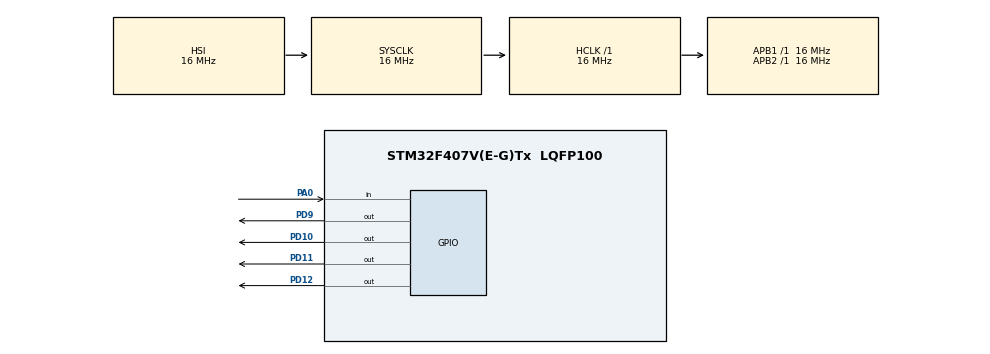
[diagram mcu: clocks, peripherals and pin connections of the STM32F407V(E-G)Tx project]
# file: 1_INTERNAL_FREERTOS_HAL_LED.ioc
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FREERTOS.Tasks01=Button,0,128,ButtonControlTask,Default,NULL,Dynamic,NULL,NULL;Led,0,128,LedFlashTask,Default,NULL,Dynamic,NULL,NULL
Mcu.Family=STM32F4
Mcu.Name=STM32F407V(E-G)Tx
Mcu.Package=LQFP100
NVIC.PriorityGroup=NVIC_PRIORITYGROUP_4
PA0-WKUP.Signal=GPIO_Input
PD10.Signal=GPIO_Output
PD11.Signal=GPIO_Output
PD12.Signal=GPIO_Output
PD9.Signal=GPIO_Output
ProjectManager.HeapSize=0x200
ProjectManager.StackSize=0x400
ProjectManager.TargetToolchain=STM32CubeIDE
RCC.AHBFreq_Value=16000000
RCC.APB1Freq_Value=16000000
RCC.APB2Freq_Value=16000000
RCC.CortexFreq_Value=16000000
RCC.HSE_VALUE=25000000
RCC.HSI_VALUE=16000000
RCC.LSE_VALUE=32768
RCC.SYSCLKFreq_VALUE=16000000
RCC.VCOOutputFreq_Value=192000000
VP_FREERTOS_VS_CMSIS_V1.Mode=CMSIS_V1
board=custom

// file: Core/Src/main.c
/* USER CODE BEGIN Header */
/**
  ******************************************************************************
  * @file           : main.c
  * @brief          : Main program body
  ******************************************************************************
  * @attention
  *
  * Copyright (c) 2022 STMicroelectronics.
  * All rights reserved.
  *
  * This software is licensed under terms that can be found in the LICENSE file
  * in the root directory of this software component.
  * If no LICENSE file comes with this software, it is provided AS-IS.
  *
  ******************************************************************************
  */
/* USER CODE END Header */
#include "main.h"
#include "cmsis_os.h"

int8_t ButtonCount=0;
osThreadId ButtonHandle;
osThreadId LedHandle;

void SystemClock_Config(void);
static void MX_GPIO_Init(void);
void ButtonControlTask(void const * argument);
void LedFlashTask(void const * argument);

int main(void)
{

  /* MCU Configuration--------------------------------------------------------*/

  /* Reset of all peripherals, Initializes the Flash interface and the Systick. */
  HAL_Init();

  /* Configure the system clock */
  SystemClock_Config();

  /* Initialize all configured peripherals */
  MX_GPIO_Init();

  /* Create the thread(s) */
  /* definition and creation of Button */
  osThreadDef(Button, ButtonControlTask, osPriorityNormal, 0, 128);
  ButtonHandle = osThreadCreate(osThread(Button), NULL);

  /* definition and creation of Led */
  osThreadDef(Led, LedFlashTask, osPriorityNormal, 0, 128);
  LedHandle = osThreadCreate(osThread(Led), NULL);

  /* Start scheduler */
  osKernelStart();

  /* We should never get here as control is now taken by the scheduler */
  /* Infinite loop */
  while (1)
  {

  }
}

void SystemClock_Config(void)
{
  RCC_OscInitTypeDef RCC_OscInitStruct = {0};
  RCC_ClkInitTypeDef RCC_ClkInitStruct = {0};

  /** Configure the main internal regulator output voltage
  */
  __HAL_RCC_PWR_CLK_ENABLE();
  __HAL_PWR_VOLTAGESCALING_CONFIG(PWR_REGULATOR_VOLTAGE_SCALE1);

  /** Initializes the RCC Oscillators according to the specified parameters
  * in the RCC_OscInitTypeDef structure.
  */
  RCC_OscInitStruct.OscillatorType = RCC_OSCILLATORTYPE_HSI;
  RCC_OscInitStruct.HSIState = RCC_HSI_ON;
  RCC_OscInitStruct.HSICalibrationValue = RCC_HSICALIBRATION_DEFAULT;
  RCC_OscInitStruct.PLL.PLLState = RCC_PLL_NONE;
  if (HAL_RCC_OscConfig(&RCC_OscInitStruct) != HAL_OK)
  {
    Error_Handler();
  }

  /** Initializes the CPU, AHB and APB buses clocks
  */
  RCC_ClkInitStruct.ClockType = RCC_CLOCKTYPE_HCLK|RCC_CLOCKTYPE_SYSCLK
                              |RCC_CLOCKTYPE_PCLK1|RCC_CLOCKTYPE_PCLK2;
  RCC_ClkInitStruct.SYSCLKSource = RCC_SYSCLKSOURCE_HSI;
  RCC_ClkInitStruct.AHBCLKDivider = RCC_SYSCLK_DIV1;
  RCC_ClkInitStruct.APB1CLKDivider = RCC_HCLK_DIV1;
  RCC_ClkInitStruct.APB2CLKDivider = RCC_HCLK_DIV1;

  if (HAL_RCC_ClockConfig(&RCC_ClkInitStruct, FLASH_LATENCY_0) != HAL_OK)
  {
    Error_Handler();
  }
}

static void MX_GPIO_Init(void)
{
  GPIO_InitTypeDef GPIO_InitStruct = {0};

  /* GPIO Ports Clock Enable */
  __HAL_RCC_GPIOA_CLK_ENABLE();
  __HAL_RCC_GPIOD_CLK_ENABLE();

  /*Configure GPIO pin Output Level */
  HAL_GPIO_WritePin(GPIOD, GPIO_PIN_9|GPIO_PIN_10|GPIO_PIN_11|GPIO_PIN_12, GPIO_PIN_RESET);

  /*Configure GPIO pin : PA0 */
  GPIO_InitStruct.Pin = GPIO_PIN_0;
  GPIO_InitStruct.Mode = GPIO_MODE_INPUT;
  GPIO_InitStruct.Pull = GPIO_NOPULL;
  HAL_GPIO_Init(GPIOA, &GPIO_InitStruct);

  /*Configure GPIO pins : PD9 PD10 PD11 PD12 */
  GPIO_InitStruct.Pin = GPIO_PIN_9|GPIO_PIN_10|GPIO_PIN_11|GPIO_PIN_12;
  GPIO_InitStruct.Mode = GPIO_MODE_OUTPUT_PP;
  GPIO_InitStruct.Pull = GPIO_NOPULL;
  GPIO_InitStruct.Speed = GPIO_SPEED_FREQ_LOW;
  HAL_GPIO_Init(GPIOD, &GPIO_InitStruct);

}

void ButtonControlTask(void const * argument)
{
  /* USER CODE BEGIN 5 */
  /* Infinite loop */
  for(;;)
  {
	  if(HAL_GPIO_ReadPin(GPIOA, GPIO_PIN_0)==GPIO_PIN_SET)
	  		  {
	  			while(HAL_GPIO_ReadPin(GPIOA, GPIO_PIN_0)==GPIO_PIN_SET)
	  			ButtonCount +=1;
	  			if(ButtonCount==5)
	  			{
	  				ButtonCount=0;
	  			}
	  		  }
  }
  /* USER CODE END 5 */
}

void LedFlashTask(void const * argument)
{
  /* USER CODE BEGIN LedFlashTask */
  /* Infinite loop */
  for(;;)
  {
	  if(ButtonCount==0)
	  		  {
	  			  HAL_GPIO_WritePin(GPIOD, GPIO_PIN_12|GPIO_PIN_13|GPIO_PIN_14|GPIO_PIN_15,GPIO_PIN_RESET);
	  		  }
	  		  else if (ButtonCount==1)
	  		  {
	  			  HAL_GPIO_TogglePin(GPIOD, GPIO_PIN_12|GPIO_PIN_13|GPIO_PIN_14|GPIO_PIN_15);
	  			  osDelay(1000);
	  		  }
	  		  else if (ButtonCount==2)
	  		  {
	  			  HAL_GPIO_TogglePin(GPIOD, GPIO_PIN_12|GPIO_PIN_13|GPIO_PIN_14|GPIO_PIN_15);
	  			  osDelay(750);
	  		  }
	  		  else if (ButtonCount==3)
	  		  {
	  			  HAL_GPIO_TogglePin(GPIOD, GPIO_PIN_12|GPIO_PIN_13|GPIO_PIN_14|GPIO_PIN_15);
	  			  osDelay(500);
	  		  }
	  		  else if (ButtonCount==4)
	  		  {
	  			  HAL_GPIO_TogglePin(GPIOD, GPIO_PIN_12|GPIO_PIN_13|GPIO_PIN_14|GPIO_PIN_15);
	  			  osDelay(250);
	  		  }
  }
  /* USER CODE END LedFlashTask */
}

void Error_Handler(void)
{
  __disable_irq();
  while (1)
  {
  }
}
